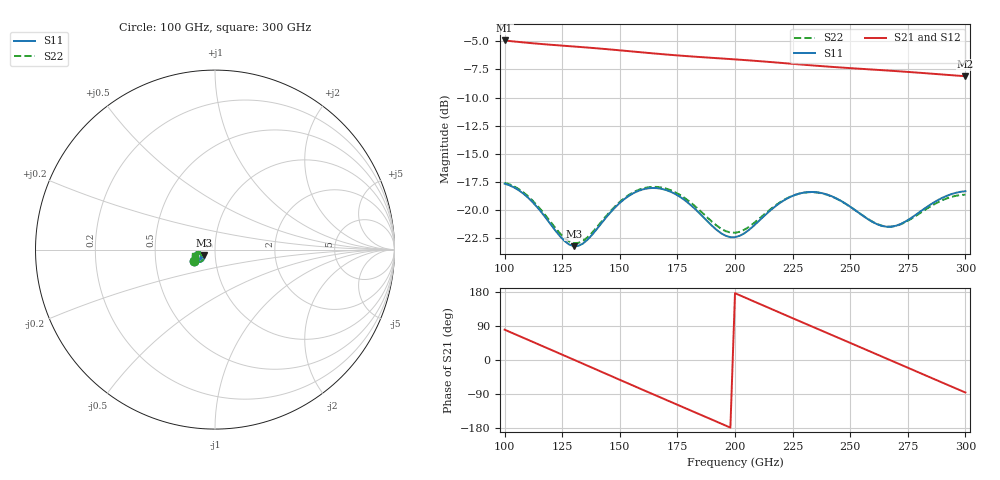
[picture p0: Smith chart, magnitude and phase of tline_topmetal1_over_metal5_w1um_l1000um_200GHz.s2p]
#  GHZ S DB R 50
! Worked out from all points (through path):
!   101 points, 100 GHz to 300 GHz, reference 50 ohm
!   highest |S21| = -4.93 dB at 100 GHz (marker M1); lowest = -8.1 dB at 300 GHz (marker M2)
!   group delay of S21, straight-line fit = 7.3 ps
!   lowest |S11| = -23.2 dB at 130 GHz (marker M3), VSWR 1.15, Z = 44 - j2.59 ohm
!   |S11| at or under -10 dB: start of sweep to end of sweep
!   |S22| runs from -22.9 to -17.6 dB; largest |S21 - S12| = 9.8e-14
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100  -17.64 -151.6  -4.93 80.0  -4.93 80.0  -17.55 -150.8
108  -18.50 -162.6  -5.09 58.9  -5.09 58.9  -18.38 -161.8
116  -20.18 -169.0  -5.24 37.9  -5.24 37.9  -20.01 -168.3
130  -23.18 -155.1  -5.46 0.8  -5.46 0.8  -22.91 -155.4
134  -22.95 -146.8  -5.52 -9.8  -5.52 -9.8  -22.71 -147.6
142  -21.15 -138.2  -5.66 -31.0  -5.66 -31.0  -21.02 -139.2
152  -19.00 -142.1  -5.84 -57.6  -5.84 -57.6  -18.91 -142.9
160  -18.14 -150.6  -5.99 -78.7  -5.99 -78.7  -18.05 -151.1
168  -18.09 -160.0  -6.13 -99.7  -6.13 -99.7  -17.97 -160.3
176  -18.79 -168.0  -6.27 -120.7  -6.27 -120.7  -18.62 -168.3
186  -20.55 -172.1  -6.41 -146.9  -6.41 -146.9  -20.26 -172.5
200  -22.38 -157.3  -6.61 176.2  -6.61 176.2  -21.99 -159.8
208  -21.40 -147.6  -6.72 155.1  -6.72 155.1  -21.17 -150.9
218  -19.57 -146.9  -6.88 128.8  -6.88 128.8  -19.50 -150.2
226  -18.64 -152.3  -7.02 107.8  -7.02 107.8  -18.63 -155.2
234  -18.37 -159.4  -7.15 86.8  -7.15 86.8  -18.39 -162.1
242  -18.75 -165.9  -7.27 66.0  -7.27 66.0  -18.77 -168.5
252  -19.97 -169.7  -7.41 39.9  -7.41 39.9  -19.96 -172.3
268  -21.45 -158.3  -7.62 -2.0  -7.62 -2.0  -21.45 -161.8
276  -20.74 -151.2  -7.73 -23.0  -7.73 -23.0  -20.81 -155.0
286  -19.34 -150.1  -7.88 -49.2  -7.88 -49.2  -19.52 -154.1
300  -18.30 -158.1  -8.10 -85.7  -8.10 -85.7  -18.61 -162.1
